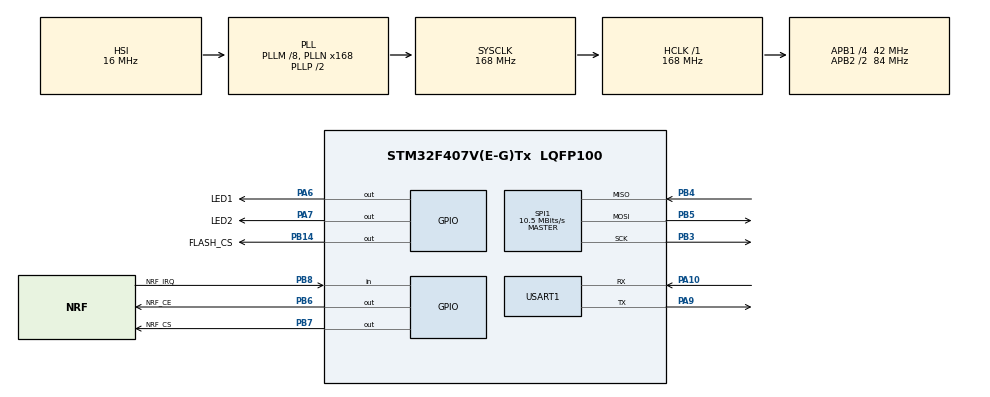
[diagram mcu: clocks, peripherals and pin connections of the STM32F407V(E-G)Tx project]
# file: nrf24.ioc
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Mcu.Family=STM32F4
Mcu.Name=STM32F407V(E-G)Tx
Mcu.Package=LQFP100
NVIC.PriorityGroup=NVIC_PRIORITYGROUP_4
PA10.Mode=Asynchronous
PA10.Signal=USART1_RX
PA6.GPIO_Label=LED1
PA6.Signal=GPIO_Output
PA7.GPIO_Label=LED2
PA7.Signal=GPIO_Output
PA9.Mode=Asynchronous
PA9.Signal=USART1_TX
PB14.GPIO_Label=FLASH_CS
PB14.GPIO_ModeDefaultOutputPP=GPIO_MODE_OUTPUT_PP
PB14.GPIO_PuPd=GPIO_PULLUP
PB14.GPIO_Speed=GPIO_SPEED_FREQ_LOW
PB14.PinState=GPIO_PIN_SET
PB14.Signal=GPIO_Output
PB3.Mode=Full_Duplex_Master
PB3.Signal=SPI1_SCK
PB4.Mode=Full_Duplex_Master
PB4.Signal=SPI1_MISO
PB5.Mode=Full_Duplex_Master
PB5.Signal=SPI1_MOSI
PB6.GPIO_Label=NRF_CE
PB6.GPIO_PuPd=GPIO_PULLUP
PB6.GPIO_Speed=GPIO_SPEED_FREQ_HIGH
PB6.Signal=GPIO_Output
PB7.GPIO_Label=NRF_CS
PB7.GPIO_ModeDefaultOutputPP=GPIO_MODE_OUTPUT_PP
PB7.GPIO_PuPd=GPIO_PULLUP
PB7.GPIO_Speed=GPIO_SPEED_FREQ_HIGH
PB7.Signal=GPIO_Output
PB8.GPIO_Label=NRF_IRQ
PB8.Signal=GPIO_Input
PH0-OSC_IN.Mode=HSE-External-Oscillator
PH0-OSC_IN.Signal=RCC_OSC_IN
PH1-OSC_OUT.Mode=HSE-External-Oscillator
PH1-OSC_OUT.Signal=RCC_OSC_OUT
ProjectManager.HeapSize=0x200
ProjectManager.StackSize=0x400
ProjectManager.TargetToolchain=MDK-ARM V5
RCC.48MHZClocksFreq_Value=84000000
RCC.AHBFreq_Value=168000000
RCC.APB1CLKDivider=RCC_HCLK_DIV4
RCC.APB1Freq_Value=42000000
RCC.APB1TimFreq_Value=84000000
RCC.APB2CLKDivider=RCC_HCLK_DIV2
RCC.APB2Freq_Value=84000000
RCC.APB2TimFreq_Value=168000000
RCC.CortexFreq_Value=168000000
RCC.HCLKFreq_Value=168000000
RCC.HSE_VALUE=8000000
RCC.HSI_VALUE=16000000
RCC.LSE_VALUE=32768
RCC.PLLM=8
RCC.PLLN=168
RCC.SYSCLKFreq_VALUE=168000000
RCC.SYSCLKSource=RCC_SYSCLKSOURCE_PLLCLK
RCC.VCOOutputFreq_Value=336000000
SPI1.BaudRatePrescaler=SPI_BAUDRATEPRESCALER_8
SPI1.CLKPhase=SPI_PHASE_2EDGE
SPI1.CLKPolarity=SPI_POLARITY_HIGH
SPI1.CRCCalculation=SPI_CRCCALCULATION_DISABLE
SPI1.CalculateBaudRate=10.5 MBits/s
SPI1.Direction=SPI_DIRECTION_2LINES
SPI1.Mode=SPI_MODE_MASTER
SPI1.VirtualType=VM_MASTER
USART1.VirtualMode=VM_ASYNC
board=custom

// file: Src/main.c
/* USER CODE BEGIN Header */
/**
  ******************************************************************************
  * @file           : main.c
  * @brief          : Main program body
  ******************************************************************************
  * @attention
  *
  * <h2><center>&copy; Copyright (c) 2019 STMicroelectronics.
  * All rights reserved.</center></h2>
  *
  * This software component is licensed by ST under BSD 3-Clause license,
  * the "License"; You may not use this file except in compliance with the
  * License. You may obtain a copy of the License at:
  *                        opensource.org/licenses/BSD-3-Clause
  *
  ******************************************************************************
  */
/* USER CODE END Header */

#include "main.h"
#include "spi.h"
#include "usart.h"
#include "gpio.h"

void SystemClock_Config(void);

/* USER CODE BEGIN 0 */
#define u8 uint8_t
//24L01发送接收数据宽度定义
#define TX_ADR_WIDTH    5   	//5字节的地址宽度
#define RX_ADR_WIDTH    5   	//5字节的地址宽度
#define TX_PLOAD_WIDTH  6  	//32字节的用户数据宽度
#define RX_PLOAD_WIDTH  6  	//32字节的用户数据宽度

const u8 TX_ADDRESS[TX_ADR_WIDTH]={0x34,0x43,0x10,0x10,0x01}; //发送地址
const u8 RX_ADDRESS[RX_ADR_WIDTH]={0xaa,0X5a,0x78,0x10,0x01}; //发送地址

//针对NRF24L01修改SPI1驱动
void NRF24L01_SPI_Init(void)
{
	__HAL_SPI_DISABLE(&hspi1);               //先关闭SPI1
	hspi1.Init.CLKPolarity=SPI_POLARITY_LOW; //串行同步时钟的空闲状态为低电平
	hspi1.Init.CLKPhase=SPI_PHASE_1EDGE;     //串行同步时钟的第1个跳变沿（上升或下降）数据被采样
	HAL_SPI_Init(&hspi1);
	__HAL_SPI_ENABLE(&hspi1);                //使能SPI1
}
//SPI1 读写一个字节
//TxData:要写入的字节
//返回值:读取到的字节
u8 SPI1_ReadWriteByte(u8 TxData)
{
	u8 Rxdata;
	HAL_SPI_TransmitReceive(&hspi1,&TxData,&Rxdata,1, 1000);
	return Rxdata;					//返回收到的数据
}
//初始化24L01的IO口
void NRF24L01_Init(void)
{
	GPIO_InitTypeDef GPIO_Initure;
	__HAL_RCC_GPIOB_CLK_ENABLE();			//开启GPIOB时钟
	__HAL_RCC_GPIOG_CLK_ENABLE();			//开启GPIOG时钟

	//GPIOB14初始化设置:推挽输出
	GPIO_Initure.Pin=GPIO_PIN_14; 			//PB14
	GPIO_Initure.Mode=GPIO_MODE_OUTPUT_PP;  //推挽输出
	GPIO_Initure.Pull=GPIO_PULLUP;          //上拉
	GPIO_Initure.Speed=GPIO_SPEED_HIGH;     //高速
	HAL_GPIO_Init(GPIOB,&GPIO_Initure);     //初始化

	//GPIOG6,7推挽输出
	GPIO_Initure.Pin=GPIO_PIN_6|GPIO_PIN_7;	//PG6,7
	HAL_GPIO_Init(GPIOB,&GPIO_Initure);     //初始化

	//GPIOG.8上拉输入
	GPIO_Initure.Pin=GPIO_PIN_8;			//PG8
	GPIO_Initure.Mode=GPIO_MODE_INPUT;      //输入
	HAL_GPIO_Init(GPIOB,&GPIO_Initure);     //初始化

	HAL_GPIO_WritePin(GPIOB,GPIO_PIN_14,GPIO_PIN_SET);//PB14输出1,防止SPI FLASH干扰NRF的通信

	MX_SPI1_Init();							//初始化SPI1
	NRF24L01_SPI_Init();					//针对NRF的特点修改SPI的设置
	HAL_GPIO_WritePin(NRF_CE_GPIO_Port,NRF_CE_Pin,GPIO_PIN_RESET);//NRF24L01_CE=0; 							//使能24L01
	HAL_GPIO_WritePin(NRF_CS_GPIO_Port,NRF_CS_Pin,GPIO_PIN_SET);//NRF24L01_CSN=1;							//SPI片选取消
}
//SPI写寄存器
//reg:指定寄存器地址
//value:写入的值
u8 NRF24L01_Write_Reg(u8 reg,u8 value)
{
	u8 status;
	HAL_GPIO_WritePin(NRF_CS_GPIO_Port,NRF_CS_Pin,GPIO_PIN_RESET);//NRF24L01_CSN=0;                 //使能SPI传输
	status =SPI1_ReadWriteByte(reg);//发送寄存器号
	SPI1_ReadWriteByte(value);      //写入寄存器的值
	HAL_GPIO_WritePin(NRF_CS_GPIO_Port,NRF_CS_Pin,GPIO_PIN_SET);//NRF24L01_CSN=1;                 //禁止SPI传输
	return(status);       		    //返回状态值
}
//读取SPI寄存器值
//reg:要读的寄存器
u8 NRF24L01_Read_Reg(u8 reg)
{
	u8 reg_val;
	HAL_GPIO_WritePin(NRF_CS_GPIO_Port,NRF_CS_Pin,GPIO_PIN_RESET);//NRF24L01_CSN=0;             //使能SPI传输
	SPI1_ReadWriteByte(reg);    //发送寄存器号
	reg_val=SPI1_ReadWriteByte(0XFF);//读取寄存器内容
	HAL_GPIO_WritePin(NRF_CS_GPIO_Port,NRF_CS_Pin,GPIO_PIN_SET);//NRF24L01_CSN=1;             //禁止SPI传输
	return(reg_val);            //返回状态值
}
//在指定位置写指定长度的数据
//reg:寄存器(位置)
//*pBuf:数据指针
//len:数据长度
//返回值,此次读到的状态寄存器值
u8 NRF24L01_Write_Buf(u8 reg, u8 *pBuf, u8 len)
{
	u8 status,u8_ctr;
	HAL_GPIO_WritePin(NRF_CS_GPIO_Port,NRF_CS_Pin,GPIO_PIN_RESET);//NRF24L01_CSN=0;             //使能SPI传输
	status = SPI1_ReadWriteByte(reg);//发送寄存器值(位置),并读取状态值
	for(u8_ctr=0; u8_ctr<len; u8_ctr++)
	{
		SPI1_ReadWriteByte(*pBuf++); //写入数据
	}
	HAL_GPIO_WritePin(NRF_CS_GPIO_Port,NRF_CS_Pin,GPIO_PIN_SET);//NRF24L01_CSN=1;             //关闭SPI传输
	return status;              //返回读到的状态值
}
//在指定位置读出指定长度的数据
//reg:寄存器(位置)
//*pBuf:数据指针
//len:数据长度
//返回值,此次读到的状态寄存器值
u8 NRF24L01_Read_Buf(u8 reg,u8 *pBuf,u8 len)
{
	u8 status,u8_ctr;
	HAL_GPIO_WritePin(NRF_CS_GPIO_Port,NRF_CS_Pin,GPIO_PIN_RESET);//NRF24L01_CSN=0;//使能SPI传输
	status=SPI1_ReadWriteByte(reg);//发送寄存器值(位置),并读取状态值
	for(u8_ctr=0;u8_ctr<len;u8_ctr++)pBuf[u8_ctr]=SPI1_ReadWriteByte(0XFF);//读出数据
	HAL_GPIO_WritePin(NRF_CS_GPIO_Port,NRF_CS_Pin,GPIO_PIN_SET);//NRF24L01_CSN=1;//关闭SPI传输
	return status;             //返回读到的状态值
}
//检测24L01是否存在
//返回值:0，成功;1，失败
u8 NRF24L01_Check(void)
{
	u8 buf[5]={0XA5,0XA5,0XA5,0XA5,0XA5};
	u8 i;
	//SPI1_SetSpeed(SPI_BAUDRATEPRESCALER_8); //spi速度为10.5Mhz（（24L01的最大SPI时钟为10Mhz,这里大一点没关系）
	NRF24L01_Write_Buf(NRF_WRITE_REG+TX_ADDR,buf,5);//写入5个字节的地址.
	NRF24L01_Read_Buf(TX_ADDR,buf,5); //读出写入的地址
	for(i=0;i<5;i++)
	{
		if(buf[i]!=0XA5)
		{
			break;
		}
	}
	if(i!=5)return 1;//检测24L01错误
	return 0;		 //检测到24L01
}
//该函数初始化NRF24L01到RX模式
//设置RX地址,写RX数据宽度,选择RF频道,波特率和LNA HCURR
//当CE变高后,即进入RX模式,并可以接收数据了
void NRF24L01_RX_Mode(void)
{
	HAL_GPIO_WritePin(NRF_CE_GPIO_Port,NRF_CE_Pin,GPIO_PIN_RESET);//NRF24L01_CE=0;
	NRF24L01_Write_Buf(NRF_WRITE_REG+RX_ADDR_P0,(u8*)RX_ADDRESS,RX_ADR_WIDTH);//写RX节点地址
	NRF24L01_Write_Reg(NRF_WRITE_REG+EN_AA,0x00);       //使能通道0的自动应答
	NRF24L01_Write_Reg(NRF_WRITE_REG+SETUP_AW,0x01);
	NRF24L01_Write_Reg(NRF_WRITE_REG+EN_RXADDR,0x01);   //使能通道0的接收地址
	NRF24L01_Write_Reg(NRF_WRITE_REG+RF_CH,10);	        //设置RF通信频率
	NRF24L01_Write_Reg(NRF_WRITE_REG+RX_PW_P0,6);//选择通道0的有效数据宽度
	NRF24L01_Write_Reg(NRF_WRITE_REG+RF_SETUP,0x07);    //设置TX发射参数,0db增益,2Mbps,低噪声增益开启
	NRF24L01_Write_Reg(NRF_WRITE_REG+CONFIG, 0x0f);     //配置基本工作模式的参数;PWR_UP,EN_CRC,16BIT_CRC,接收模式
	HAL_GPIO_WritePin(NRF_CE_GPIO_Port,NRF_CE_Pin,GPIO_PIN_SET);//NRF24L01_CE=1; //CE为高,进入接收模式
}
//启动NRF24L01发送一次数据
//txbuf:待发送数据首地址
//返回值:0，接收完成；其他，错误代码
u8 NRF24L01_RxPacket(u8 *rxbuf)
{
	u8 sta;
	//SPI1_SetSpeed(SPI_BAUDRATEPRESCALER_8); //spi速度为6.75Mhz（24L01的最大SPI时钟为10Mhz）
	sta=NRF24L01_Read_Reg(STATUS);          //读取状态寄存器的值
	NRF24L01_Write_Reg(NRF_WRITE_REG+STATUS,sta); //清除TX_DS或MAX_RT中断标志
	if(sta&RX_OK)//接收到数据
	{
		NRF24L01_Read_Buf(RD_RX_PLOAD,rxbuf,RX_PLOAD_WIDTH);//读取数据
		NRF24L01_Write_Reg(FLUSH_RX,0xff);  //清除RX FIFO寄存器
		return 0;
	}
	return 1;//没收到任何数据
}

/* USER CODE END 0 */

int main(void)
{
  /* USER CODE BEGIN 1 */
	u8 tmp_buf[20];
	uint32_t i=0;
  /* USER CODE END 1 */

  /* MCU Configuration--------------------------------------------------------*/

  /* Reset of all peripherals, Initializes the Flash interface and the Systick. */
  HAL_Init();

  /* Configure the system clock */
  SystemClock_Config();

  /* Initialize all configured peripherals */
  MX_GPIO_Init();
  MX_SPI1_Init();
  MX_USART1_UART_Init();
  /* USER CODE BEGIN 2 */
	NRF24L01_Init();
	NRF24L01_RX_Mode();
  /* USER CODE END 2 */

  /* Infinite loop */
  while (1)
  {

    /* USER CODE BEGIN 3 */
		if(NRF24L01_RxPacket(tmp_buf)==0)//一旦接收到信息,则显示出来
		{
			HAL_GPIO_WritePin(GPIOA, LED1_Pin,!HAL_GPIO_ReadPin(GPIOA, LED1_Pin));
		}
		if(i++ >= 6000)
		{
			i=0;
			HAL_GPIO_WritePin(GPIOA, LED2_Pin,!HAL_GPIO_ReadPin(GPIOA, LED2_Pin));
		}
  }
  /* USER CODE END 3 */
}

void SystemClock_Config(void)
{
  RCC_OscInitTypeDef RCC_OscInitStruct = {0};
  RCC_ClkInitTypeDef RCC_ClkInitStruct = {0};

  /** Configure the main internal regulator output voltage
  */
  __HAL_RCC_PWR_CLK_ENABLE();
  __HAL_PWR_VOLTAGESCALING_CONFIG(PWR_REGULATOR_VOLTAGE_SCALE1);
  /** Initializes the CPU, AHB and APB busses clocks
  */
  RCC_OscInitStruct.OscillatorType = RCC_OSCILLATORTYPE_HSI;
  RCC_OscInitStruct.HSIState = RCC_HSI_ON;
  RCC_OscInitStruct.HSICalibrationValue = RCC_HSICALIBRATION_DEFAULT;
  RCC_OscInitStruct.PLL.PLLState = RCC_PLL_ON;
  RCC_OscInitStruct.PLL.PLLSource = RCC_PLLSOURCE_HSI;
  RCC_OscInitStruct.PLL.PLLM = 8;
  RCC_OscInitStruct.PLL.PLLN = 168;
  RCC_OscInitStruct.PLL.PLLP = RCC_PLLP_DIV2;
  RCC_OscInitStruct.PLL.PLLQ = 4;
  if (HAL_RCC_OscConfig(&RCC_OscInitStruct) != HAL_OK)
  {
    Error_Handler();
  }
  /** Initializes the CPU, AHB and APB busses clocks
  */
  RCC_ClkInitStruct.ClockType = RCC_CLOCKTYPE_HCLK|RCC_CLOCKTYPE_SYSCLK
                              |RCC_CLOCKTYPE_PCLK1|RCC_CLOCKTYPE_PCLK2;
  RCC_ClkInitStruct.SYSCLKSource = RCC_SYSCLKSOURCE_PLLCLK;
  RCC_ClkInitStruct.AHBCLKDivider = RCC_SYSCLK_DIV1;
  RCC_ClkInitStruct.APB1CLKDivider = RCC_HCLK_DIV4;
  RCC_ClkInitStruct.APB2CLKDivider = RCC_HCLK_DIV2;

  if (HAL_RCC_ClockConfig(&RCC_ClkInitStruct, FLASH_LATENCY_5) != HAL_OK)
  {
    Error_Handler();
  }
}

void Error_Handler(void)
{
}

/************************ (C) COPYRIGHT STMicroelectronics *****END OF FILE****/
